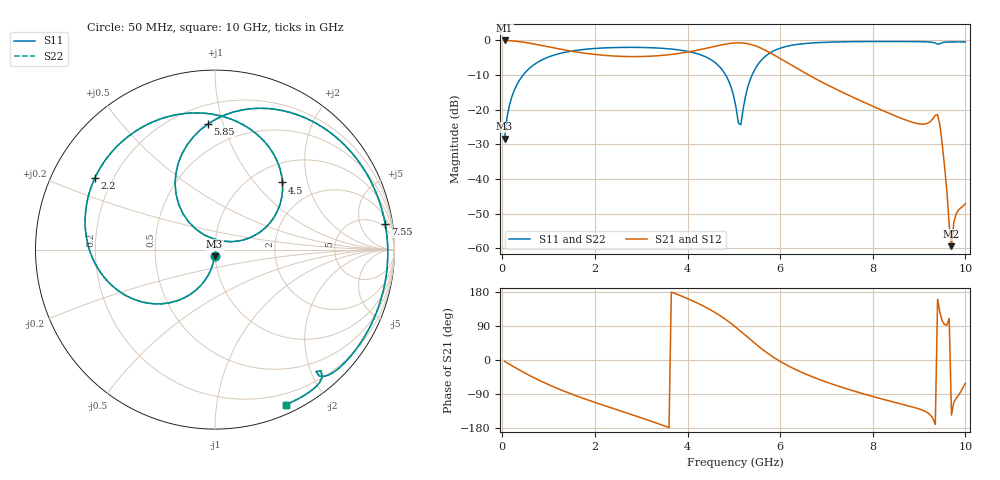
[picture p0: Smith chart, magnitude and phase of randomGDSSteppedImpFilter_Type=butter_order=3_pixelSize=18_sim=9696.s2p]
! freq	dB(S11)	phase(S11)	dB(S12)	phase(S12)
!  dB(S21)	phase(S21)	dB(S22)	phase(S22)
!S-par simulation data
#  GHz  S  DB  R 50
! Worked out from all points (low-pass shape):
!   200 points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, 50 MHz to 10 GHz, reference 50 ohm
!   highest |S21| = -0.01 dB at 50 MHz (marker M1); lowest = -59.4 dB at 9.7 GHz (marker M2)
!   |S21| within 3 dB of the highest: start of sweep to 1.456 GHz; 4.14 GHz to 5.705 GHz (1.565 GHz wide, 31.8 % of centre)
!   lowest |S11| = -28.4 dB at 50 MHz (marker M3), VSWR 1.08, Z = 49.6 - j3.78 ohm
!   |S11| at or under -10 dB: start of sweep to 449.4 MHz; 4.823 GHz to 5.393 GHz (570.3 MHz wide, 11.2 % of centre)
!   |S22| runs from -28.4 to -0.3 dB; largest |S21 - S12| = 0
!   S11 on the Smith chart (normalised r, x): 50 MHz: 0.99, -0.08; 2.2 GHz: 0.13, +0.27; 4.5 GHz: 1.36, +1.41; 5.85 GHz: 0.32, +0.89; 7.55 GHz: 4, +13; 10 GHz: 0.09, -1.56
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0.05  -28.36 -94.0  -0.01 -3.7  -0.01 -3.7  -28.36 -94.0
0.2  -16.53 -105.0  -0.12 -14.5  -0.12 -14.5  -16.53 -105.0
0.5  -9.20 -125.6  -0.61 -35.1  -0.61 -35.1  -9.20 -125.6
1  -4.77 -155.6  -1.86 -65.1  -1.86 -65.1  -4.77 -155.6
1.75  -2.62 168.2  -3.63 -101.2  -3.63 -101.2  -2.62 168.2
2.2  -2.17 149.3  -4.31 -120.1  -4.31 -120.1  -2.17 149.3
3.4  -2.23 100.5  -4.38 -169.4  -4.38 -169.4  -2.23 100.4
4.5  -5.51 44.9  -1.98 132.1  -1.98 132.1  -5.51 44.7
4.85  -10.62 22.7  -1.00 104.6  -1.00 104.6  -10.62 22.5
5.05  -19.63 25.1  -0.71 85.7  -0.71 85.7  -19.66 24.7
5.15  -24.34 98.4  -0.71 75.6  -0.71 75.6  -24.45 98.6
5.4  -9.78 128.7  -1.29 49.5  -1.29 49.5  -9.79 128.7
5.85  -3.08 93.2  -4.07 7.7  -4.07 7.7  -3.08 93.2
6.7  -0.73 43.4  -10.60 -44.5  -10.60 -44.5  -0.73 43.3
7.55  -0.36 8.5  -16.27 -80.3  -16.27 -80.3  -0.36 8.4
8.35  -0.31 -18.8  -21.03 -107.8  -21.03 -107.8  -0.31 -18.9
9.05  -0.36 -40.6  -24.16 -131.3  -24.16 -131.3  -0.36 -40.6
9.4  -1.08 -50.3  -21.41 160.6  -21.41 160.6  -1.08 -50.4
9.55  -0.52 -51.7  -36.34 93.5  -36.34 93.5  -0.52 -51.7
9.7  -0.43 -56.7  -59.40 -145.5  -59.40 -145.5  -0.43 -56.8
9.8  -0.43 -59.7  -50.06 -101.7  -50.06 -101.7  -0.43 -59.8
10  -0.45 -65.4  -47.12 -61.5  -47.12 -61.5  -0.45 -65.4
